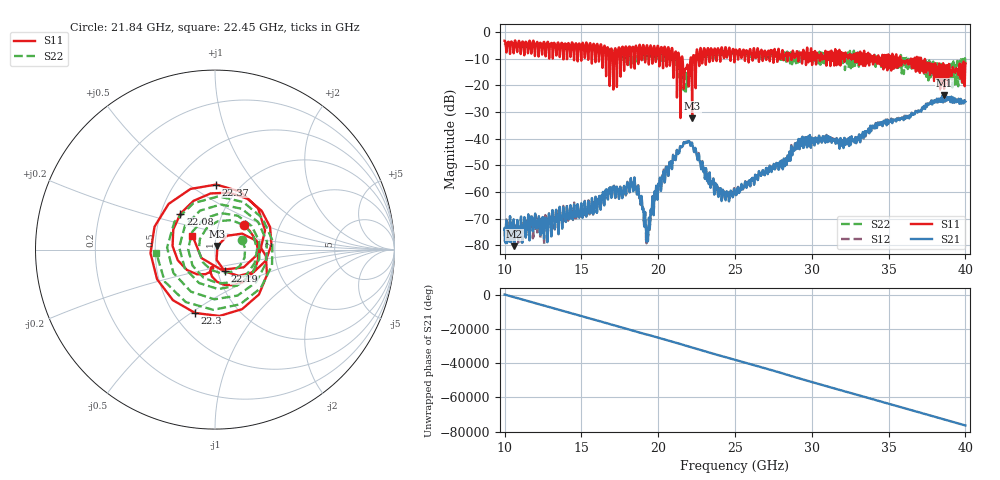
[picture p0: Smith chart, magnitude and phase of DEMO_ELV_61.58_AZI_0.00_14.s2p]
! 11/3/2026 12:53:03 PM
! C:\ANRITSUVNA\TEMP\TEMP.S2P
! CHANNEL.1
! TR.MEASUREMENT
! RAW.DATA
# HZ S RI R 50.0
! FREQ.HZ  S11RE  S11IM  S21RE  S21IM  S12RE  S12IM  S22RE  S22IM
!; PortSelection: Port_12
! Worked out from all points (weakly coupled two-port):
!   3001 points, 10 GHz to 40 GHz, reference 50 ohm
!   highest |S21| = -23.65 dB at 38.62 GHz (marker M1); lowest = -80.4 dB at 10.64 GHz (marker M2)
!   lowest |S11| = -32.3 dB at 22.21 GHz (marker M3), VSWR 1.05, Z = 51.4 + j2.05 ohm
!   |S11| at or under -10 dB: 21.59 GHz to 22.1 GHz (515.4 MHz wide, 2.36 % of centre); 35.78 GHz to 36.45 GHz (666.2 MHz wide, 1.84 % of centre); 37.12 GHz to end of sweep (the widest 3 of 109)
!   |S22| runs from -23.3 to -4.5 dB; largest |S21 - S12| = 0.082
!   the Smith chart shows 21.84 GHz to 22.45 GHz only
!   S11 on the Smith chart (normalised r, x): 21.84 GHz: 1.33, +0.38; 22.08 GHz: 0.63, +0.27; 22.19 GHz: 1.08, -0.27; 22.3 GHz: 0.64, -0.52; 22.37 GHz: 0.78, +0.65; 22.45 GHz: 0.77, +0.12
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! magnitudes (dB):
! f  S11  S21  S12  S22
! 10 GHz  -3.2  -74.3  -73.5  -4.7
! 10.64 GHz  -4.2  -80.4  -76.3  -5.0
! 15 GHz  -9.9  -64.8  -64.6  -6.4
! 16.96 GHz  -6.1  -62.2  -62.3  -6.9
! 18.34 GHz  -5.5  -57.9  -58.2  -11.7
! 18.81 GHz  -4.9  -62.1  -62.6  -8.3
! 19.33 GHz  -6.5  -78.6  -76.1  -7.3
! 20 GHz  -5.4  -58.1  -58.2  -7.4
! 21.84 GHz  -13.5  -41.3  -41.1  -16.0
! 22.08 GHz  -11.1  -42.2  -41.8  -14.8
! 22.19 GHz  -17.6  -41.5  -41.5  -14.0
! 22.21 GHz  -32.3  -41.7  -41.8  -12.7
! 22.3 GHz  -8.6  -43.9  -43.8  -11.4
! 22.37 GHz  -8.8  -44.6  -44.7  -10.0
! 22.45 GHz  -16.6  -44.5  -44.5  -9.7
! 23.78 GHz  -10.0  -58.4  -58.6  -9.4
! 25 GHz  -7.6  -60.5  -60.5  -8.3
! 30 GHz  -10.3  -39.6  -39.6  -8.0
! 33.02 GHz  -7.7  -40.4  -40.7  -9.1
! 35 GHz  -8.5  -33.9  -33.9  -11.0
! 38.62 GHz  -21.3  -23.7  -23.5  -16.8
! 40 GHz  -11.7  -26.1  -26.1  -12.3
